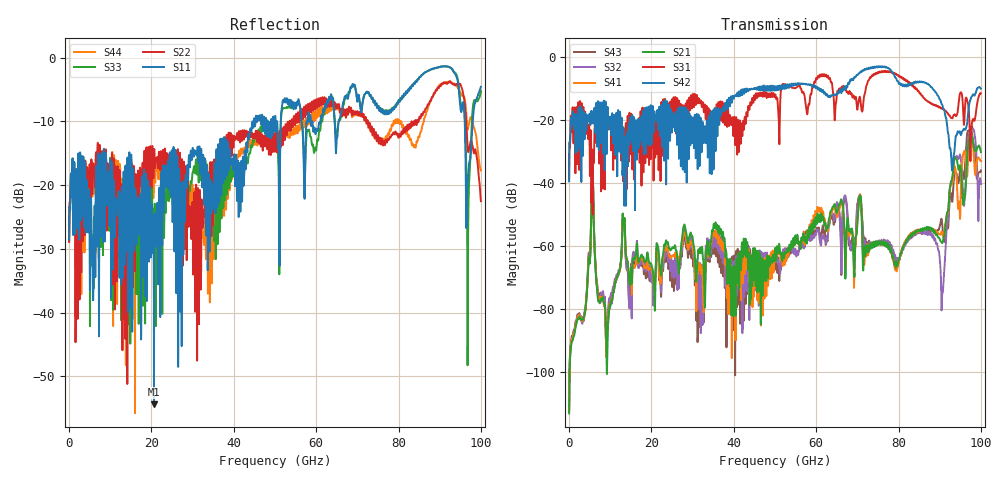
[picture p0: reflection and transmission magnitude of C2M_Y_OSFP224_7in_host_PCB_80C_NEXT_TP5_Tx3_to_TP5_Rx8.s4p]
# GHz S RI R 45
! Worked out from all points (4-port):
!   4000 points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, 25 MHz to 100 GHz, reference 45 ohm
!   strongest paths, dB at 25 MHz, 25.02 GHz, 50.02 GHz, 75.03 GHz, 100 GHz:
!     S42: -39.5, -23.0, -10.5, -3.3, -10.1
!     S31: -38.7, -14.2, -12.1, -5.0, -11.6
!     S21: -113.0, -60.8, -60.8, -59.1, -30.3
!     S41: -112.4, -63.3, -64.9, -59.2, -33.0
!     S32: -112.1, -69.4, -63.1, -58.9, -40.3
!     S43: -111.7, -72.9, -62.7, -58.8, -36.1
!   lowest |S11| = -54.4 dB at 20.62 GHz (marker M1), VSWR 1.00, Z = 45 - j0.169 ohm
!   |S11| at or under -10 dB: start of sweep to 44.52 GHz; 59.09 GHz to 61.04 GHz (1.955 GHz wide, 3.26 % of centre); 96.08 GHz to 98 GHz (1.927 GHz wide, 1.99 % of centre) (the widest 3 of 20)
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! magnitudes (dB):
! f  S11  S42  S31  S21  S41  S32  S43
! 25 MHz  -28.5  -39.5  -38.7  -113.0  -112.4  -112.1  -111.7
! 5.7 GHz  -30.6  -18.6  -34.2  -40.7  -40.7  -40.7  -40.7
! 20.62 GHz  -54.4  -18.9  -26.0  -72.1  -73.1  -74.3  -74.7
! 67 GHz  -6.0  -10.3  -9.9  -62.9  -63.2  -43.9  -44.8
! 90.67 GHz  -1.4  -15.4  -16.5  -58.9  -56.5  -75.0  -54.5
! 93.85 GHz  -2.7  -25.4  -18.6  -32.1  -35.7  -31.7  -36.5
! 100 GHz  -4.6  -10.1  -11.6  -30.3  -33.0  -40.3  -36.1
